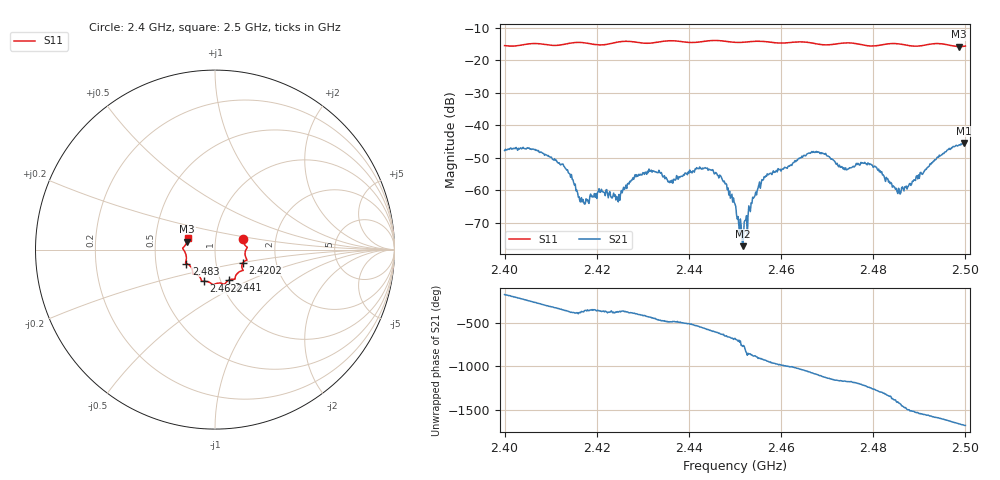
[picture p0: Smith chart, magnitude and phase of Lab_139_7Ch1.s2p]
# Hz S RI R 50
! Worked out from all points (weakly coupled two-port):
!   601 points, 2.4 GHz to 2.5 GHz, reference 50 ohm
!   highest |S21| = -45.46 dB at 2.4997 GHz (marker M1); lowest = -77.2 dB at 2.4517 GHz (marker M2)
!   lowest |S11| = -15.8 dB at 2.4987 GHz (marker M3), VSWR 1.39, Z = 36.4 + j3.29 ohm
!   |S11| at or under -10 dB: start of sweep to end of sweep
!   S12 and S22 are empty: the file has one direction only
!   S11 on the Smith chart (normalised r, x): 2.4 GHz: 1.36, +0.17; 2.4202 GHz: 1.35, -0.20; 2.441 GHz: 1.10, -0.39; 2.4622 GHz: 0.83, -0.30; 2.483 GHz: 0.72, -0.12; 2.5 GHz: 0.73, +0.09
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2.4e9  0.1562 0.0604  -0.00406 -0.000381  0 0  0 0
2.411333e9  0.1674 -0.0225  0.00241 0.00139  0 0  0 0
2.416667e9  0.1777 -0.0582  0.000762 -0.000129  0 0  0 0
2.420167e9  0.1563 -0.0719  0.000927 0.000111  0 0  0 0
2.424667e9  0.1546 -0.1113  0.000638 -0.000188  0 0  0 0
2.428667e9  0.1465 -0.1188  0.0014 -0.00104  0 0  0 0
2.433333e9  0.1132 -0.1522  -0.000414 -0.00183  0 0  0 0
2.436e9  0.1108 -0.1653  -0.000843 -0.00112  0 0  0 0
2.441e9  0.0769 -0.1705  -0.00189 -0.000593  0 0  0 0
2.4465e9  0.0504 -0.1934  -0.000247 0.00153  0 0  0 0
2.45e9  0.0267 -0.1861  0.000457 0.000414  0 0  0 0
2.451667e9  0.0102 -0.1879  8.83e-05 -0.000107  0 0  0 0
2.456167e9  -0.0145 -0.1936  -0.00134 0.000598  0 0  0 0
2.462167e9  -0.0628 -0.1767  0.000654 0.00236  0 0  0 0
2.466667e9  -0.0768 -0.167  0.00392 0.000458  0 0  0 0
2.479333e9  -0.1317 -0.0997  -0.00248 -0.000577  0 0  0 0
2.483e9  -0.1593 -0.0781  -0.000517 0.00142  0 0  0 0
2.483333e9  -0.1608 -0.0774  -0.000282 0.00131  0 0  0 0
2.486167e9  -0.1622 -0.0666  0.00107 -0.000252  0 0  0 0
2.498667e9  -0.1557 0.044  -0.00376 0.00328  0 0  0 0
2.499667e9  -0.153 0.0579  -0.00299 0.00441  0 0  0 0
2.5e9  -0.1527 0.0624  -0.00273 0.00449  0 0  0 0
